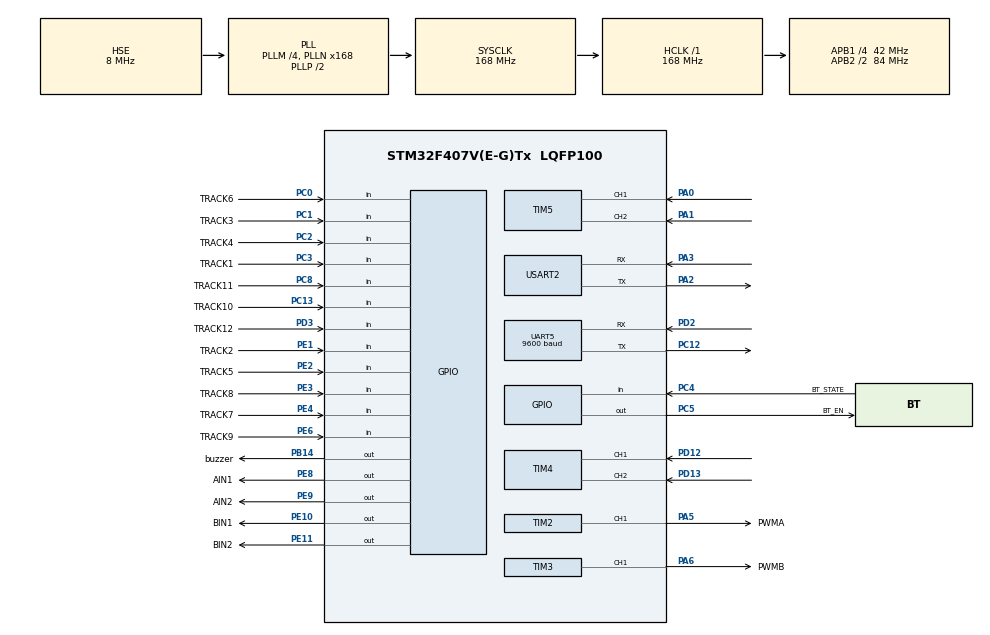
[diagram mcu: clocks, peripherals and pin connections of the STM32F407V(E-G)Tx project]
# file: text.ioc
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Dma.Request0=UART5_TX
Dma.UART5_TX.0.Direction=DMA_MEMORY_TO_PERIPH
Dma.UART5_TX.0.FIFOMode=DMA_FIFOMODE_DISABLE
Dma.UART5_TX.0.Instance=DMA1_Stream7
Dma.UART5_TX.0.MemDataAlignment=DMA_MDATAALIGN_BYTE
Dma.UART5_TX.0.MemInc=DMA_MINC_ENABLE
Dma.UART5_TX.0.Mode=DMA_NORMAL
Dma.UART5_TX.0.PeriphDataAlignment=DMA_PDATAALIGN_BYTE
Dma.UART5_TX.0.PeriphInc=DMA_PINC_DISABLE
Dma.UART5_TX.0.Priority=DMA_PRIORITY_LOW
Mcu.Family=STM32F4
Mcu.Name=STM32F407V(E-G)Tx
Mcu.Package=LQFP100
NVIC.DMA1_Stream7_IRQn=true\:0\:0\:false\:false\:true\:false\:true\:true
NVIC.PriorityGroup=NVIC_PRIORITYGROUP_4
NVIC.TIM6_DAC_IRQn=true\:0\:0\:false\:false\:true\:true\:true\:true
NVIC.TIM7_IRQn=true\:0\:0\:false\:false\:true\:true\:true\:true
NVIC.UART5_IRQn=true\:0\:0\:false\:false\:true\:true\:true\:true
NVIC.USART2_IRQn=true\:0\:0\:false\:false\:true\:true\:true\:true
PA0-WKUP.Signal=S_TIM5_CH1
PA1.Signal=S_TIM5_CH2
PA13.Mode=Serial_Wire
PA13.Signal=SYS_JTMS-SWDIO
PA14.Mode=Serial_Wire
PA14.Signal=SYS_JTCK-SWCLK
PA2.Mode=Asynchronous
PA2.Signal=USART2_TX
PA3.Mode=Asynchronous
PA3.Signal=USART2_RX
PA5.GPIO_Label=PWMA
PA5.Signal=S_TIM2_CH1_ETR
PA6.GPIO_Label=PWMB
PA6.Signal=S_TIM3_CH1
PB14.GPIO_Label=buzzer
PB14.PinState=GPIO_PIN_SET
PB14.Signal=GPIO_Output
PC0.GPIO_Label=TRACK6
PC0.Signal=GPIO_Input
PC1.GPIO_Label=TRACK3
PC1.Signal=GPIO_Input
PC12.Mode=Asynchronous
PC12.Signal=UART5_TX
PC13-ANTI_TAMP.GPIO_Label=TRACK10
PC13-ANTI_TAMP.Signal=GPIO_Input
PC2.GPIO_Label=TRACK4
PC2.Signal=GPIO_Input
PC3.GPIO_Label=TRACK1
PC3.Signal=GPIO_Input
PC4.GPIO_Label=BT_STATE
PC4.Signal=GPIO_Input
PC5.GPIO_Label=BT_EN
PC5.Signal=GPIO_Output
PC8.GPIO_Label=TRACK11
PC8.Signal=GPIO_Input
PD12.Signal=S_TIM4_CH1
PD13.Signal=S_TIM4_CH2
PD2.Mode=Asynchronous
PD2.Signal=UART5_RX
PD3.GPIO_Label=TRACK12
PD3.Signal=GPIO_Input
PE1.GPIO_Label=TRACK2
PE1.Signal=GPIO_Input
PE10.GPIO_Label=BIN1
PE10.Signal=GPIO_Output
PE11.GPIO_Label=BIN2
PE11.Signal=GPIO_Output
PE2.GPIO_Label=TRACK5
PE2.Signal=GPIO_Input
PE3.GPIO_Label=TRACK8
PE3.Signal=GPIO_Input
PE4.GPIO_Label=TRACK7
PE4.Signal=GPIO_Input
PE6.GPIO_Label=TRACK9
PE6.Signal=GPIO_Input
PE8.GPIO_Label=AIN1
PE8.Signal=GPIO_Output
PE9.GPIO_Label=AIN2
PE9.Signal=GPIO_Output
PH0-OSC_IN.Mode=HSE-External-Oscillator
PH0-OSC_IN.Signal=RCC_OSC_IN
PH1-OSC_OUT.Mode=HSE-External-Oscillator
PH1-OSC_OUT.Signal=RCC_OSC_OUT
ProjectManager.HeapSize=0x200
ProjectManager.StackSize=0x400
ProjectManager.TargetToolchain=CMake
RCC.48MHZClocksFreq_Value=84000000
RCC.AHBFreq_Value=168000000
RCC.APB1CLKDivider=RCC_HCLK_DIV4
RCC.APB1Freq_Value=42000000
RCC.APB1TimFreq_Value=84000000
RCC.APB2CLKDivider=RCC_HCLK_DIV2
RCC.APB2Freq_Value=84000000
RCC.APB2TimFreq_Value=168000000
RCC.CortexFreq_Value=168000000
RCC.HCLKFreq_Value=168000000
RCC.HSE_VALUE=8000000
RCC.HSI_VALUE=16000000
RCC.LSE_VALUE=32768
RCC.PLLM=4
RCC.PLLN=168
RCC.PLLSourceVirtual=RCC_PLLSOURCE_HSE
RCC.SYSCLKFreq_VALUE=168000000
RCC.SYSCLKSource=RCC_SYSCLKSOURCE_PLLCLK
RCC.VCOOutputFreq_Value=336000000
SH.S_TIM2_CH1_ETR.0=TIM2_CH1,PWM Generation1 CH1
SH.S_TIM3_CH1.0=TIM3_CH1,PWM Generation1 CH1
SH.S_TIM4_CH1.0=TIM4_CH1,Encoder_Interface
SH.S_TIM4_CH2.0=TIM4_CH2,Encoder_Interface
SH.S_TIM5_CH1.0=TIM5_CH1,Encoder_Interface
SH.S_TIM5_CH2.0=TIM5_CH2,Encoder_Interface
TIM2.Channel-PWM\ Generation1\ CH1=TIM_CHANNEL_1
TIM2.Period=100-1
TIM2.Prescaler=168-1
TIM2.Pulse-PWM\ Generation1\ CH1=50
TIM3.Channel-PWM\ Generation1\ CH1=TIM_CHANNEL_1
TIM3.Period=100-1
TIM3.Prescaler=168-1
TIM4.EncoderMode=TIM_ENCODERMODE_TI12
TIM4.IC1Filter=10
TIM4.IC1Polarity=TIM_ICPOLARITY_FALLING
TIM4.IC2Filter=10
TIM4.IC2Polarity=TIM_ICPOLARITY_FALLING
TIM5.EncoderMode=TIM_ENCODERMODE_TI12
TIM5.IC1Filter=10
TIM5.IC1Polarity=TIM_ICPOLARITY_FALLING
TIM5.IC2Filter=10
TIM5.IC2Polarity=TIM_ICPOLARITY_RISING
TIM6.Period=100-1
TIM6.Prescaler=840-1
TIM7.Period=100-1
TIM7.Prescaler=84-1
UART5.BaudRate=9600
UART5.VirtualMode=Asynchronous
USART2.VirtualMode=VM_ASYNC
VP_TIM6_VS_ClockSourceINT.Mode=Enable_Timer
VP_TIM7_VS_ClockSourceINT.Mode=Enable_Timer
board=custom

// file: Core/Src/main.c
/* USER CODE BEGIN Header */
/**
  ******************************************************************************
  * @file           : main.c
  * @brief          : Main program body
  ******************************************************************************
  * @attention
  *
  * Copyright (c) 2026 STMicroelectronics.
  * All rights reserved.
  *
  * This software is licensed under terms that can be found in the LICENSE file
  * in the root directory of this software component.
  * If no LICENSE file comes with this software, it is provided AS-IS.
  *
  ******************************************************************************
  */
/* USER CODE END Header */
#include "main.h"
#include "dma.h"
#include "stm32f4xx_hal_uart.h"
#include "tim.h"
#include "track.h"
#include "turn.h"
#include "usart.h"
#include "gpio.h"

/* USER CODE BEGIN Includes */
#include "headfile.h"
#include <stdint.h>
#include <stdio.h>
#include <sys/_intsup.h>
/* USER CODE END Includes */

/* USER CODE BEGIN PD */

volatile float ypr[3];
extern uint32_t cnt;

// 位置环调试变量
extern double current_position_left;
extern double current_position_right;
extern double target_position;
extern float steer_err_printf;

char tx_buf[100];

double current_speed_left;
double current_speed_right;

extern uint8_t q1_first_flag;
extern uint8_t q2_first_flag;
extern uint8_t q3_first_flag;
extern uint8_t q4_first_flag;

char rx_buf[10];
char tx_buf[100];
uint16_t task[4]={10,20,10,0};
/* USER CODE END PD */

void SystemClock_Config(void);

int main(void)
{

  /* MCU Configuration--------------------------------------------------------*/

  /* Reset of all peripherals, Initializes the Flash interface and the Systick. */
  HAL_Init();

  /* Configure the system clock */
  SystemClock_Config();

  /* Initialize all configured peripherals */
  MX_GPIO_Init();
  MX_DMA_Init();
  MX_TIM2_Init();
  MX_TIM3_Init();
  MX_TIM4_Init();
  MX_TIM5_Init();
  MX_TIM6_Init();
  MX_UART5_Init();
  MX_TIM7_Init();
  MX_USART2_UART_Init();
  /* USER CODE BEGIN 2 */
  DWT_Init();
	motor_init();
	encoder_init();

  question_task_init();

  IMU_init();
  HAL_Delay(100); // 等待IMU稳定

  HAL_UART_Receive_IT(&huart2, (uint8_t*)rx_buf, 1);
  /* USER CODE END 2 */

  /* Infinite loop */
  /* USER CODE BEGIN WHILE */
  while (1)
  {
    if(!task[0]){
      task[0] = 10;
      buzzer_control();
      switch(STATE_MACHINE.Main_State) {
        case STOP_STATE:
            speed_control(0.0f, 0.0f);
            break;
        case Q1_STATE:
            question1_task();
            break;
        case Q2_STATE:
            question2_task();
            break;
        case Q3_STATE:
            question3_task();
            break;
        case Q4_STATE:
            question4_task();
            break;
        default:
            break;
      }
      current_speed_left  = encoder_get_speed_left();
      current_speed_right = encoder_get_speed_right();
    }
    if(!task[1]){
      task[1] = 20;
      IMU_getYawPitchRoll(ypr);
    }
    /* USER CODE END WHILE */

  }
}

void SystemClock_Config(void)
{
  RCC_OscInitTypeDef RCC_OscInitStruct = {0};
  RCC_ClkInitTypeDef RCC_ClkInitStruct = {0};

  /** Configure the main internal regulator output voltage
  */
  __HAL_RCC_PWR_CLK_ENABLE();
  __HAL_PWR_VOLTAGESCALING_CONFIG(PWR_REGULATOR_VOLTAGE_SCALE1);

  /** Initializes the RCC Oscillators according to the specified parameters
  * in the RCC_OscInitTypeDef structure.
  */
  RCC_OscInitStruct.OscillatorType = RCC_OSCILLATORTYPE_HSE;
  RCC_OscInitStruct.HSEState = RCC_HSE_ON;
  RCC_OscInitStruct.PLL.PLLState = RCC_PLL_ON;
  RCC_OscInitStruct.PLL.PLLSource = RCC_PLLSOURCE_HSE;
  RCC_OscInitStruct.PLL.PLLM = 4;
  RCC_OscInitStruct.PLL.PLLN = 168;
  RCC_OscInitStruct.PLL.PLLP = RCC_PLLP_DIV2;
  RCC_OscInitStruct.PLL.PLLQ = 4;
  if (HAL_RCC_OscConfig(&RCC_OscInitStruct) != HAL_OK)
  {
    Error_Handler();
  }

  /** Initializes the CPU, AHB and APB buses clocks
  */
  RCC_ClkInitStruct.ClockType = RCC_CLOCKTYPE_HCLK|RCC_CLOCKTYPE_SYSCLK
                              |RCC_CLOCKTYPE_PCLK1|RCC_CLOCKTYPE_PCLK2;
  RCC_ClkInitStruct.SYSCLKSource = RCC_SYSCLKSOURCE_PLLCLK;
  RCC_ClkInitStruct.AHBCLKDivider = RCC_SYSCLK_DIV1;
  RCC_ClkInitStruct.APB1CLKDivider = RCC_HCLK_DIV4;
  RCC_ClkInitStruct.APB2CLKDivider = RCC_HCLK_DIV2;

  if (HAL_RCC_ClockConfig(&RCC_ClkInitStruct, FLASH_LATENCY_5) != HAL_OK)
  {
    Error_Handler();
  }
}

/* USER CODE BEGIN 4 */
void HAL_UART_RxCpltCallback(UART_HandleTypeDef *huart){
  if(huart->Instance == USART2){
    if(rx_buf[0]=='1'){
      STATE_MACHINE.Main_State = Q1_STATE;
      q1_first_flag = 0;
    }else if(rx_buf[0]=='2'){
      STATE_MACHINE.Main_State = Q2_STATE;
      q2_first_flag = 0;
    }else if(rx_buf[0]=='3'){
      STATE_MACHINE.Main_State = Q3_STATE;
      q3_first_flag = 0;
    }else if(rx_buf[0]=='4'){
      STATE_MACHINE.Main_State = Q4_STATE;
      q4_first_flag = 0;
    }
    HAL_UART_Receive_IT(huart, (uint8_t*)rx_buf, 1);
  }
}

volatile uint32_t nowtime = 0;

extern volatile float ypr[3];          // 上传yaw pitch roll的值
/**
 * @brief 定时器中断回调函数
 * @details 处理TIM6定时器中断，执行转向控制和速度控制
 * @param htim 定时器句柄
 */
void HAL_TIM_PeriodElapsedCallback(TIM_HandleTypeDef *htim) {
    if(htim->Instance == TIM6) {
      for(int i=0; i<4; i++) {
        if(task[i] > 0) {
          task[i]--;
        }
      }
    }

    if(htim->Instance == TIM7) {
        nowtime++;
    }
}
/* USER CODE END 4 */

void Error_Handler(void)
{
  __disable_irq();
  while (1)
  {
  }
}
